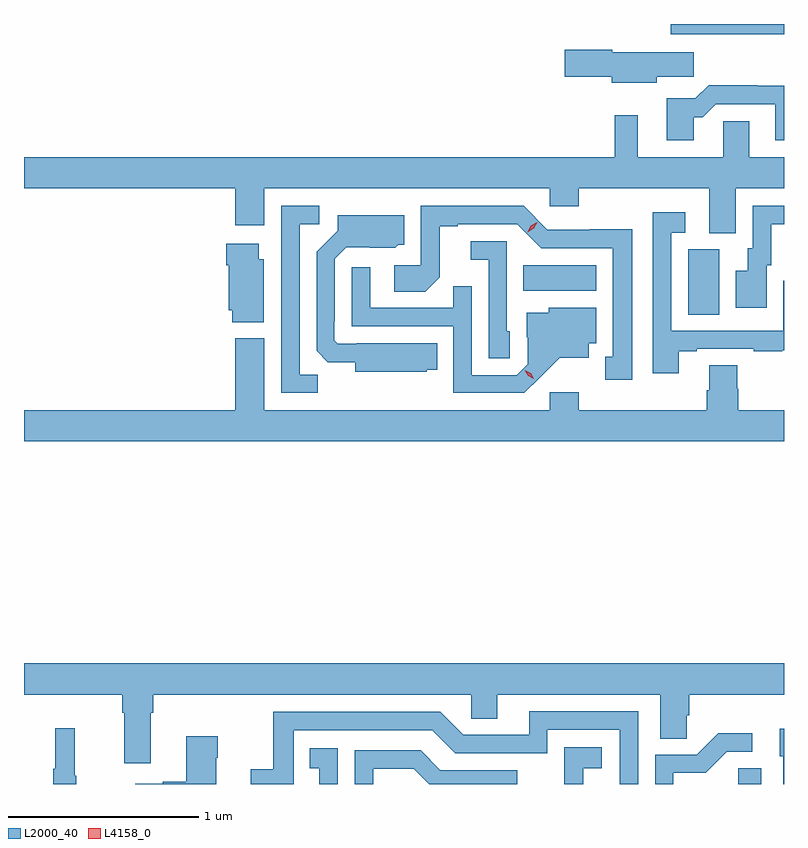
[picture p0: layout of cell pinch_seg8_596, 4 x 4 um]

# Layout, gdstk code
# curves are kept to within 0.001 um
import gdstk
lib = gdstk.Library(unit=1e-6, precision=1e-09)
def R(c, l, rs):  # rectangles x0, y0, x1, y1
    for r in rs: c.add(gdstk.rectangle(r[:2], r[2:], *l))
def P(c, l, *ps):  # polygons
    for p in ps: c.add(gdstk.Polygon(p, *l))
L2000_40 = (2000, 40)
L4158_0 = (4158, 0)

pinch_seg8_596 = lib.new_cell('pinch_seg8_596')
R(pinch_seg8_596, L2000_40, [(161.811,1085.393,161.932,1085.477), (161.546,1087.864,161.71,1088.208), (160.678,1087.988,161.062,1088.122), (161.456,1089.338,162.051,1089.393)])
P(pinch_seg8_596, L2000_40, [(161.38,1089.115),(161.575,1089.115),(161.575,1089.244),(161.148,1089.244),(161.148,1089.257),(160.896,1089.257),(160.896,1089.115),(161.144,1089.115),(161.144,1089.083),(161.38,1089.083)],
  [(161.575,1088.903),(161.624,1088.903),(161.691,1088.97),(162.005,1088.97),(162.005,1088.781),(162.051,1088.781),(162.051,1089.068),(161.909,1089.068),(161.909,1089.071),(161.654,1089.071),(161.584,1089.001),(161.435,1089.001),(161.435,1088.781),(161.575,1088.781)],
  [(161.797,1088.528),(162.051,1088.528),(162.051,1088.692),(161.869,1088.692),(161.869,1088.882),(161.73,1088.882),(161.73,1088.692),(161.281,1088.692),(161.281,1088.914),(161.16,1088.914),(161.16,1088.692),(158.051,1088.692),(158.051,1088.528),(159.164,1088.528),(159.164,1088.334),(159.316,1088.334),(159.316,1088.528),(160.818,1088.528),(160.818,1088.435),(160.97,1088.435),(160.97,1088.528),(161.657,1088.528),(161.657,1088.293),(161.797,1088.293)],
  [(161.251,1088.312),(161.028,1088.312),(161.028,1088.31),(160.806,1088.31),(160.68,1088.436),(160.14,1088.436),(160.14,1088.124),(159.999,1088.124),(159.999,1087.984),(160.163,1087.984),(160.239,1088.06),(160.239,1088.328),(160.333,1088.328),(160.333,1088.34),(160.647,1088.34),(160.773,1088.214),(161.15,1088.214),(161.15,1087.641),(161.111,1087.641),(161.111,1087.521),(161.251,1087.521)],
  [(159.597,1087.547),(159.501,1087.547),(159.501,1088.34),(159.604,1088.34),(159.604,1088.436),(159.405,1088.436),(159.405,1087.452),(159.597,1087.452)],
  [(161.959,1088.124),(161.983,1088.124),(161.983,1088.34),(162.051,1088.34),(162.051,1088.436),(161.886,1088.436),(161.886,1088.214),(161.861,1088.214),(161.861,1088.095),(161.798,1088.095),(161.798,1087.899),(161.959,1087.899)],
  [(161.497,1087.671),(161.593,1087.671),(161.593,1087.683),(161.893,1087.683),(161.893,1087.671),(162.041,1087.671),(162.041,1087.677),(162.051,1087.677),(162.051,1088.041),(162.048,1088.041),(162.048,1087.779),(161.457,1087.779),(161.457,1088.295),(161.53,1088.295),(161.53,1088.401),(161.361,1088.401),(161.361,1087.554),(161.497,1087.554)],
  [(160.17,1087.574),(160.226,1087.574),(160.226,1087.714),(159.802,1087.714),(159.802,1087.71),(159.702,1087.71),(159.684,1087.728),(159.684,1087.828),(159.687,1087.828),(159.687,1088.157),(159.747,1088.217),(160.004,1088.216),(160.02,1088.232),(160.051,1088.232),(160.051,1088.386),(159.701,1088.386),(159.701,1088.304),(159.591,1088.194),(159.591,1087.672),(159.65,1087.613),(159.794,1087.613),(159.794,1087.562),(160.17,1087.562)],
  [(160.608,1087.776),(160.593,1087.776),(160.593,1088.25),(160.401,1088.25),(160.401,1088.153),(160.497,1088.153),(160.497,1087.633),(160.608,1087.633)],
  [(159.313,1088.154),(159.286,1088.154),(159.286,1088.236),(159.116,1088.236),(159.116,1088.123),(159.128,1088.123),(159.128,1087.887),(159.146,1087.887),(159.146,1087.823),(159.313,1087.823)],
  [(160.768,1087.535),(160.871,1087.637),(161.023,1087.637),(161.023,1087.713),(161.062,1087.713),(161.062,1087.9),(160.812,1087.9),(160.812,1087.873),(160.697,1087.873),(160.697,1087.744),(160.701,1087.744),(160.701,1087.602),(160.644,1087.545),(160.407,1087.545),(160.407,1088.012),(160.309,1088.012),(160.309,1087.899),(159.873,1087.899),(159.873,1088.113),(159.777,1088.113),(159.777,1087.803),(160.311,1087.803),(160.311,1087.452),(160.684,1087.452)],
  [(162.051,1087.36),(161.81,1087.36),(161.81,1087.473),(161.805,1087.473),(161.805,1087.598),(161.657,1087.598),(161.657,1087.466),(161.645,1087.466),(161.645,1087.36),(160.97,1087.36),(160.97,1087.456),(160.818,1087.456),(160.818,1087.36),(159.316,1087.36),(159.316,1087.738),(159.164,1087.738),(159.164,1087.36),(158.051,1087.36),(158.051,1087.196),(162.051,1087.196)],
  [(158.719,1085.768),(158.732,1085.768),(158.732,1085.864),(160.404,1085.864),(160.404,1085.737),(160.543,1085.737),(160.543,1085.864),(161.399,1085.864),(161.399,1085.632),(161.538,1085.632),(161.538,1085.755),(161.552,1085.755),(161.552,1085.864),(162.051,1085.864),(162.051,1086.028),(158.051,1086.028),(158.051,1085.864),(158.567,1085.864),(158.567,1085.768),(158.579,1085.768),(158.579,1085.502),(158.719,1085.502)],
  [(159.471,1085.676),(160.2,1085.676),(160.32,1085.556),(160.806,1085.556),(160.806,1085.679),(161.187,1085.679),(161.187,1085.393),(161.283,1085.393),(161.283,1085.775),(160.709,1085.775),(160.709,1085.652),(160.362,1085.652),(160.242,1085.772),(159.363,1085.772),(159.363,1085.47),(159.245,1085.47),(159.245,1085.393),(159.471,1085.393)],
  [(158.326,1085.436),(158.318,1085.436),(158.318,1085.686),(158.216,1085.686),(158.216,1085.473),(158.205,1085.473),(158.205,1085.393),(158.326,1085.393)],
  [(162.051,1085.683),(162.029,1085.683),(162.029,1085.538),(162.048,1085.538),(162.048,1085.393),(162.051,1085.393)],
  [(161.469,1085.451),(161.638,1085.451),(161.749,1085.562),(161.884,1085.562),(161.884,1085.66),(161.705,1085.66),(161.592,1085.547),(161.373,1085.547),(161.373,1085.393),(161.469,1085.393)],
  [(159.064,1085.531),(159.072,1085.531),(159.072,1085.644),(158.906,1085.644),(158.906,1085.405),(158.78,1085.405),(158.78,1085.395),(158.637,1085.395),(158.637,1085.393),(159.064,1085.393)],
  [(160.994,1085.477),(161.092,1085.477),(161.092,1085.587),(160.894,1085.587),(160.894,1085.393),(160.994,1085.393)],
  [(159.702,1085.581),(159.556,1085.581),(159.556,1085.475),(159.605,1085.475),(159.605,1085.393),(159.702,1085.393)],
  [(159.888,1085.474),(160.102,1085.474),(160.183,1085.393),(160.647,1085.393),(160.647,1085.466),(160.243,1085.466),(160.138,1085.571),(159.792,1085.571),(159.792,1085.393),(159.888,1085.393)])
P(pinch_seg8_596, L4158_0, [(160.734,1087.526),(160.704,1087.541),(160.686,1087.571),(160.686,1087.571),(160.687,1087.571),(160.717,1087.556),(160.734,1087.526),(160.734,1087.526)],
  [(160.702,1088.298),(160.702,1088.299),(160.719,1088.331),(160.751,1088.35),(160.751,1088.35),(160.751,1088.35),(160.734,1088.317),(160.702,1088.298)])

lib.write_gds('pinch_seg8_596.gds')
